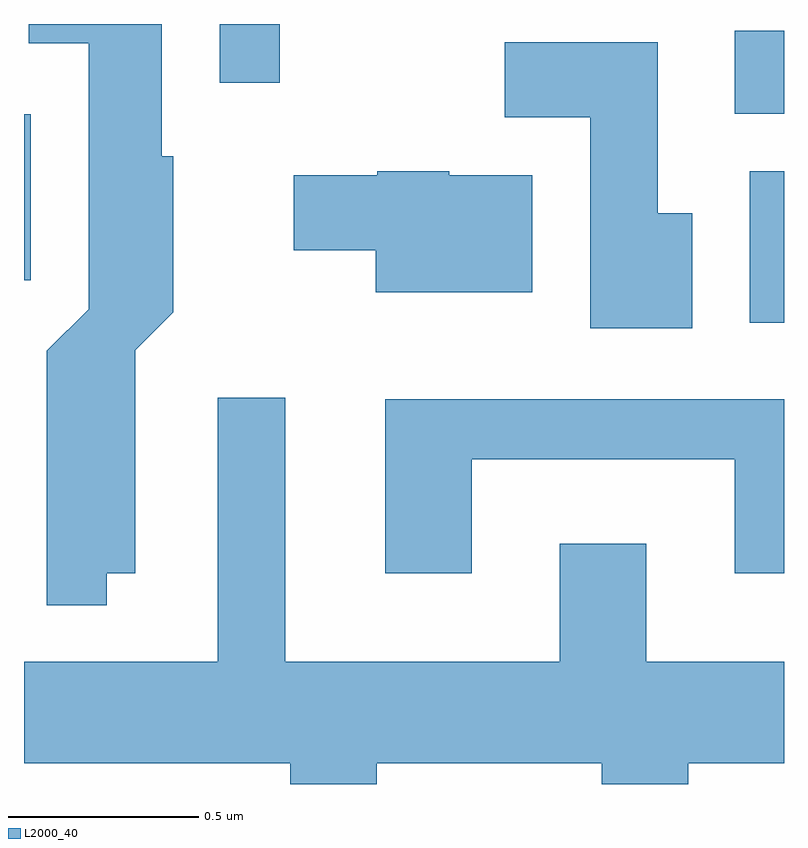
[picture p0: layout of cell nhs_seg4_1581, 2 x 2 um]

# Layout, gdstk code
import gdstk
lib = gdstk.Library(unit=1e-6, precision=1e-09)
def R(c, l, rs):  # rectangles x0, y0, x1, y1
    for r in rs: c.add(gdstk.rectangle(r[:2], r[2:], *l))
def P(c, l, *ps):  # polygons
    for p in ps: c.add(gdstk.Polygon(p, *l))
L2000_40 = (2000, 40)

nhs_seg4_1581 = lib.new_cell('nhs_seg4_1581')
R(nhs_seg4_1581, L2000_40, [(198.521,1329.196,198.611,1329.594), (196.611,1329.308,196.629,1329.744), (198.481,1329.746,198.611,1329.964), (197.126,1329.828,197.284,1329.982)])
P(nhs_seg4_1581, L2000_40, [(196.829,1328.536),(196.904,1328.536),(196.904,1329.124),(197.004,1329.224),(197.004,1329.634),(196.974,1329.634),(196.974,1329.982),(196.623,1329.982),(196.623,1329.931),(196.781,1329.931),(196.781,1329.232),(196.671,1329.122),(196.671,1328.453),(196.829,1328.453)],
  [(198.369,1329.484),(198.279,1329.484),(198.279,1329.934),(197.876,1329.934),(197.876,1329.736),(198.101,1329.736),(198.101,1329.181),(198.369,1329.181)],
  [(197.949,1329.584),(197.73,1329.584),(197.73,1329.594),(197.54,1329.594),(197.54,1329.584),(197.321,1329.584),(197.321,1329.386),(197.536,1329.386),(197.536,1329.276),(197.949,1329.276)],
  [(197.539,1328.036),(198.131,1328.036),(198.131,1327.982),(198.359,1327.982),(198.359,1328.036),(198.611,1328.036),(198.611,1328.304),(198.249,1328.304),(198.249,1328.614),(198.021,1328.614),(198.021,1328.304),(197.299,1328.304),(197.299,1328.999),(197.121,1328.999),(197.121,1328.304),(196.611,1328.304),(196.611,1328.036),(197.311,1328.036),(197.311,1327.982),(197.539,1327.982)],
  [(197.789,1328.836),(198.481,1328.836),(198.481,1328.536),(198.611,1328.536),(198.611,1328.994),(197.561,1328.994),(197.561,1328.536),(197.789,1328.536)])

lib.write_gds('nhs_seg4_1581.gds')
